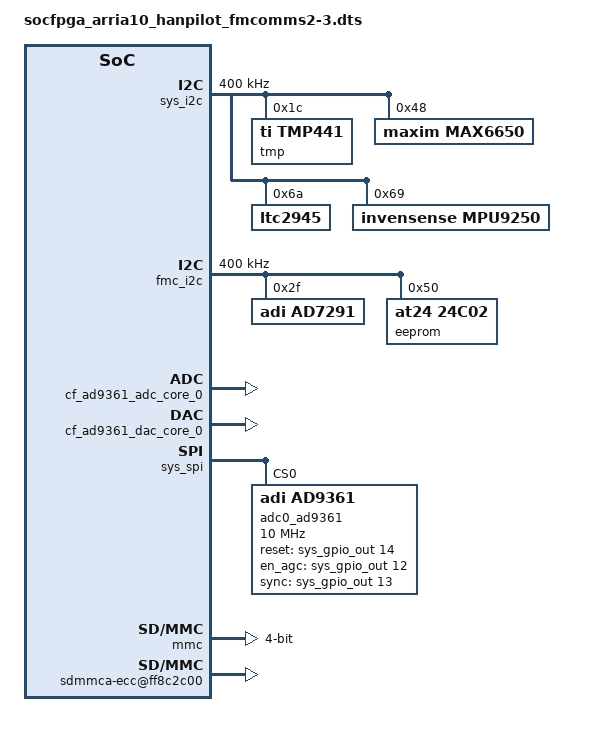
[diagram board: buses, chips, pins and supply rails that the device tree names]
// SPDX-License-Identifier: GPL-2.0
/*
 * fmcomms2-3 for the arria10
 *
 * hdl_project: <fmcomms2/hanpilot>
 * board_revision: <PR>
 *
 * Copyright 2020 Analog Devices Inc.
 * Modified by John Convertino AFRL/RIGB
 */
 
 /dts-v1/;
 #include "socfpga_arria10_hanpilot.dtsi"
#include <dt-bindings/interrupt-controller/irq.h>

&mmc {
	status = "okay";
	cap-sd-highspeed;
	broken-cd;
	bus-width = <4>;
};

&eccmgr {
	sdmmca-ecc@ff8c2c00 {
		compatible = "altr,socfpga-sdmmc-ecc";
		reg = <0xff8c2c00 0x400>;
		altr,ecc-parent = <&mmc>;
		interrupts = <15 IRQ_TYPE_LEVEL_HIGH>,
			     <47 IRQ_TYPE_LEVEL_HIGH>,
			     <16 IRQ_TYPE_LEVEL_HIGH>,
			     <48 IRQ_TYPE_LEVEL_HIGH>;
	};
};

/ {
	clocks {
		sys_clk: sys_clk {
			#clock-cells = <0>;
			compatible = "fixed-clock";
			clock-frequency = <100000000>;
			clock-output-names = "system_clock";
		};

		dma_clk: dma_clk {
			#clock-cells = <0x0>;
			compatible = "fixed-clock";
			clock-frequency = <250000000>;
			clock-output-names = "dma_clk";
		};
		
    ad9361_clkin: clock {
      #clock-cells = <0x0>;
      compatible = "fixed-clock";
      clock-frequency = <40000000>;
      clock-output-names = "ad9361_ext_refclk";
    };
	};

  soc {
		sys_hps_bridges: bridge@ff200000 {
			compatible = "simple-bus";
			reg = <0xff200000 0x00200000>;
			#address-cells = <1>;
			#size-cells = <1>;
			ranges = <0x00000000 0xff200000 0x00200000>;
			
      sys_i2c: i2c@80 {
        compatible = "altr,softip-i2c-v1.0";
        reg = <0x00000080 0x00000040>;
        interrupt-parent = <&intc>;
        interrupts = <0 34 IRQ_TYPE_LEVEL_HIGH>;
        clocks = <&sys_clk>;
        clock-frequency = <400000>;
        #address-cells = <1>;
        #size-cells = <0>;
        fifo-size = <64>;

        tmp@1C {
          compatible = "ti,tmp441";
          reg = <0x1C>;
        };
        
        max6650@48 {
          reg = <0x48>;
          compatible = "maxim,max6650";
          maxim,fan-microvolt = <12000000>;
          maxim,fan-prescale = <4>;
          maxim,fan-target-rpm = <6000>;
        };
        
        ltc2945@6A {
          compatible = "ltc2945";
          reg = <0x6A>;
        };
        

        mpu9250@69 {
          compatible = "invensense,mpu9250";
          reg = <0x69>;
          interrupt-parent = <&intc>;
          interrupts = <0 51 IRQ_TYPE_LEVEL_LOW>;
        };

      };
      
      fmc_i2c: i2c@C0 {
        compatible = "altr,softip-i2c-v1.0";
        reg = <0x000000C0 0x00000040>;
        interrupt-parent = <&intc>;
        interrupts = <0 35 IRQ_TYPE_LEVEL_HIGH>;
        clocks = <&sys_clk>;
        clock-frequency = <400000>;
        #address-cells = <1>;
        #size-cells = <0>;
        fifo-size = <128>;
        
        ad7291@2f {
          compatible = "adi,ad7291";
          reg = <0x2f>;
        };

        eeprom@50 {
          compatible = "at24,24c02";
          reg = <0x50>;
        };
      };

      cf_ad9361_adc_core_0: cf-ad9361-lpc@0x00020000 {
					compatible = "adi,axi-ad9361-6.00.a";
					reg = <0x00020000 0x00010000>;
					dmas = <&rx_dma 0>;
					dma-names = "rx";
					spibus-connected = <&adc0_ad9361>;
				};

      cf_ad9361_dac_core_0: cf-ad9361-dds-core-lpc@0x00020000 {
        compatible = "adi,axi-ad9361-dds-6.00.a";
        reg = <0x00020000 0x00001000>;
        dmas = <&tx_dma 0>;
        dma-names = "tx";
        clocks = <&adc0_ad9361 13>;
        clock-names = "sampl_clk";
      };

      tx_dma: dma@0x00044000 {
        compatible = "adi,axi-dmac-1.00.a";
        reg = <0x00044000 0x00004000>;
        interrupt-parent = <&intc>;
        interrupts = <0 22 IRQ_TYPE_LEVEL_HIGH>;
        #dma-cells = <1>;
        clocks = <&dma_clk>;
        clock-names = "axi_dmac0_clkin";

        adi,channels {
          #address-cells = <1>;
          #size-cells = <0>;

          dma-channel@0 {
            reg = <0>;
            adi,source-bus-width = <64>;
            adi,source-bus-type = <0>;
            adi,destination-bus-width = <64>;
            adi,destination-bus-type = <2>;
          };
        };
      };

      rx_dma: dma@0x00040000 {
        compatible = "adi,axi-dmac-1.00.a";
        reg = <0x00040000 0x00004000>;
        interrupt-parent = <&intc>;
        interrupts = <0 21 IRQ_TYPE_LEVEL_HIGH>;
        #dma-cells = <1>;
        clocks = <&dma_clk>;
        clock-names = "axi_dmac0_clkin";

        adi,channels {
          #address-cells = <1>;
          #size-cells = <0>;

          dma-channel@0 {
            reg = <0>;
            adi,source-bus-width = <64>;
            adi,source-bus-type = <2>;
            adi,destination-bus-width = <64>;
            adi,destination-bus-type = <0>;
          };
        };
      };

     sys_gpio_bd: sys-gpio-bd@10 {
				compatible = "altr,pio-16.0", "altr,pio-1.0";
				reg = <0x00000010 0x00000010>;
				altr,gpio-bank-width = <32>;
				#gpio-cells = <2>;
				gpio-controller;
			};
			
      sys_gpio_in: sys-gpio-in@0 {
				compatible = "altr,pio-16.0", "altr,pio-1.0";
				reg = <0x00000000 0x00000010>;
				altr,gpio-bank-width = <32>;
				#gpio-cells = <2>;
				gpio-controller;
			};

			sys_gpio_out: gpio@20 {
				compatible = "altr,pio-1.0";
				reg = <0x00000020 0x00000010>;
				altr,gpio-bank-width = <32>;
				resetvalue = <0>;
				#gpio-cells = <2>;
				gpio-controller;
			};

			sys_spi: spi@40 {
				compatible = "altr,spi-1.0";
				reg = <0x00000040 0x00000020>;
				interrupt-parent = <&intc>;
				interrupts = <0 26 IRQ_TYPE_LEVEL_HIGH>;
				#address-cells = <0x1>;
				#size-cells = <0x0>;
        adc0_ad9361: ad9361-phy@0 {
          #address-cells = <1>;
          #size-cells = <0>;
          #clock-cells = <1>;
          compatible = "adi,ad9361";

          /* SPI Setup */
          reg = <0>;
          //spi-cpha;
          spi-max-frequency = <10000000>;

          /* Clocks */
          clocks = <&ad9361_clkin 0>;
          clock-names = "ad9361_ext_refclk";
          clock-output-names = "rx_sampl_clk", "tx_sampl_clk";

          /* GPIO */
          reset-gpios  = <&sys_gpio_out 14 0>;
          en_agc-gpios = <&sys_gpio_out 12 0>;
          sync-gpios   = <&sys_gpio_out 13 0>;
          //enable-gpios = <&sys_gpio_out 1 0>;
          //txnrx-gpios  = <&sys_gpio_out 0 0>;

          //adi,debug-mode-enable;
          /* Digital Interface Control */

          /* adi,digital-interface-tune-skip-mode:
          * 0 = TUNE RX&TX
          * 1 = SKIP TX
          * 2 = SKIP ALL
          */
          adi,digital-interface-tune-skip-mode = <0>;

          adi,pp-tx-swap-enable;
          adi,pp-rx-swap-enable;
          adi,rx-frame-pulse-mode-enable;
          adi,lvds-mode-enable;
          adi,lvds-bias-mV = <150>;
          adi,lvds-rx-onchip-termination-enable;
          adi,rx-data-delay = <4>;
          adi,tx-fb-clock-delay = <7>;

          //adi,fdd-rx-rate-2tx-enable;

          adi,dcxo-coarse-and-fine-tune = <8 5920>;
          //adi,xo-disable-use-ext-refclk-enable;

          /* Mode Setup */

          adi,2rx-2tx-mode-enable;
          //adi,split-gain-table-mode-enable;

          /* ENSM Mode */
          adi,frequency-division-duplex-mode-enable;
          //adi,ensm-enable-pin-pulse-mode-enable;
          //adi,ensm-enable-txnrx-control-enable;


          /* adi,rx-rf-port-input-select:
            * 0 = (RX1A_N &  RX1A_P) and (RX2A_N & RX2A_P) enabled; balanced
            * 1 = (RX1B_N &  RX1B_P) and (RX2B_N & RX2B_P) enabled; balanced
            * 2 = (RX1C_N &  RX1C_P) and (RX2C_N & RX2C_P) enabled; balanced
            *
            * 3 = RX1A_N and RX2A_N enabled; unbalanced
            * 4 = RX1A_P and RX2A_P enabled; unbalanced
            * 5 = RX1B_N and RX2B_N enabled; unbalanced
            * 6 = RX1B_P and RX2B_P enabled; unbalanced
            * 7 = RX1C_N and RX2C_N enabled; unbalanced
            * 8 = RX1C_P and RX2C_P enabled; unbalanced
            */

          adi,rx-rf-port-input-select = <0>; /* (RX1A_N &  RX1A_P) and (RX2A_N & RX2A_P) enabled; balanced */

          /* adi,tx-rf-port-input-select:
            * 0	TX1A, TX2A
            * 1	TX1B, TX2B
            */

          adi,tx-rf-port-input-select = <0>; /* TX1A, TX2A */
          //adi,update-tx-gain-in-alert-enable;
          adi,tx-attenuation-mdB = <10000>;

          adi,rf-rx-bandwidth-hz = <18000000>;
          adi,rf-tx-bandwidth-hz = <18000000>;
          adi,rx-synthesizer-frequency-hz = /bits/ 64 <2400000000>;
          adi,tx-synthesizer-frequency-hz = /bits/ 64 <2450000000>;

          /*				BBPLL     ADC        R2CLK     R1CLK    CLKRF    RSAMPL  */
          adi,rx-path-clock-frequencies = <983040000 245760000 122880000 61440000 30720000 30720000>;
          /*				BBPLL     DAC        T2CLK     T1CLK    CLKTF    TSAMPL  */
          adi,tx-path-clock-frequencies = <983040000 122880000 122880000 61440000 30720000 30720000>;

          /* Gain Control */

          /* adi,gc-rx[1|2]-mode:
            * 0 = RF_GAIN_MGC
            * 1 = RF_GAIN_FASTATTACK_AGC
            * 2 = RF_GAIN_SLOWATTACK_AGC
            * 3 = RF_GAIN_HYBRID_AGC
            */

          adi,gc-rx1-mode = <2>;
          adi,gc-rx2-mode = <2>;
          adi,gc-adc-ovr-sample-size = <4>; /* sum 4 samples */
          adi,gc-adc-small-overload-thresh = <47>; /* sum of squares */
          adi,gc-adc-large-overload-thresh = <58>; /* sum of squares */
          adi,gc-lmt-overload-high-thresh = <800>; /* mV */
          adi,gc-lmt-overload-low-thresh = <704>; /* mV */
          adi,gc-dec-pow-measurement-duration = <8192>; /* 0..524288 Samples */
          adi,gc-low-power-thresh = <24>; /* 0..-64 dBFS vals are set pos */
          //adi,gc-dig-gain-enable;
          //adi,gc-max-dig-gain = <15>;

          /* Manual Gain Control Setup */

          //adi,mgc-rx1-ctrl-inp-enable; /* uncomment to use ctrl inputs */
          //adi,mgc-rx2-ctrl-inp-enable; /* uncomment to use ctrl inputs */
          adi,mgc-inc-gain-step = <2>;
          adi,mgc-dec-gain-step = <2>;

          /* adi,mgc-split-table-ctrl-inp-gain-mode:
            * (relevant if adi,split-gain-table-mode-enable is set)
            * 0 = AGC determine this
            * 1 = only in LPF
            * 2 = only in LMT
            */

          adi,mgc-split-table-ctrl-inp-gain-mode = <0>;

          /* Automatic Gain Control Setup */

          adi,agc-attack-delay-extra-margin-us= <1>; /* us */
          adi,agc-outer-thresh-high = <5>; /* -dBFS */
          adi,agc-outer-thresh-high-dec-steps = <2>; /* 0..15 */
          adi,agc-inner-thresh-high = <10>; /* -dBFS */
          adi,agc-inner-thresh-high-dec-steps = <1>; /* 0..7 */
          adi,agc-inner-thresh-low = <12>; /* -dBFS */
          adi,agc-inner-thresh-low-inc-steps = <1>; /* 0..7 */
          adi,agc-outer-thresh-low = <18>; /* -dBFS */
          adi,agc-outer-thresh-low-inc-steps = <2>; /* 0..15 */

          adi,agc-adc-small-overload-exceed-counter = <10>; /* 0..15 */
          adi,agc-adc-large-overload-exceed-counter = <10>; /* 0..15 */
          adi,agc-adc-large-overload-inc-steps = <2>; /* 0..15 */
          //adi,agc-adc-lmt-small-overload-prevent-gain-inc-enable;
          adi,agc-lmt-overload-large-exceed-counter = <10>; /* 0..15 */
          adi,agc-lmt-overload-small-exceed-counter = <10>; /* 0..15 */
          adi,agc-lmt-overload-large-inc-steps = <2>; /* 0..7 */
          //adi,agc-dig-saturation-exceed-counter = <3>; /* 0..15 */
          //adi,agc-dig-gain-step-size = <4>; /* 1..8 */

          //adi,agc-sync-for-gain-counter-enable;
          adi,agc-gain-update-interval-us = <1000>;  /* 1ms */
          //adi,agc-immed-gain-change-if-large-adc-overload-enable;
          //adi,agc-immed-gain-change-if-large-lmt-overload-enable;

          /* Fast AGC */

          adi,fagc-dec-pow-measurement-duration = <64>; /* 64 Samples */
          //adi,fagc-allow-agc-gain-increase-enable;
          adi,fagc-lp-thresh-increment-steps = <1>;
          adi,fagc-lp-thresh-increment-time = <5>;

          adi,fagc-energy-lost-stronger-sig-gain-lock-exit-cnt = <8>;
          adi,fagc-final-overrange-count = <3>;
          //adi,fagc-gain-increase-after-gain-lock-enable;
          adi,fagc-gain-index-type-after-exit-rx-mode = <0>;
          adi,fagc-lmt-final-settling-steps = <1>;
          adi,fagc-lock-level = <10>;
          adi,fagc-lock-level-gain-increase-upper-limit = <5>;
          adi,fagc-lock-level-lmt-gain-increase-enable;

          adi,fagc-lpf-final-settling-steps = <1>;
          adi,fagc-optimized-gain-offset = <5>;
          adi,fagc-power-measurement-duration-in-state5 = <64>;
          adi,fagc-rst-gla-engergy-lost-goto-optim-gain-enable;
          adi,fagc-rst-gla-engergy-lost-sig-thresh-below-ll = <10>;
          adi,fagc-rst-gla-engergy-lost-sig-thresh-exceeded-enable;
          adi,fagc-rst-gla-if-en-agc-pulled-high-mode = <0>;
          adi,fagc-rst-gla-large-adc-overload-enable;
          adi,fagc-rst-gla-large-lmt-overload-enable;
          adi,fagc-rst-gla-stronger-sig-thresh-above-ll = <10>;
          adi,fagc-rst-gla-stronger-sig-thresh-exceeded-enable;
          adi,fagc-state-wait-time-ns = <260>;
          adi,fagc-use-last-lock-level-for-set-gain-enable;

          /* RSSI */

          /* adi,rssi-restart-mode:
            * 0 = AGC_IN_FAST_ATTACK_MODE_LOCKS_THE_GAIN,
            * 1 = EN_AGC_PIN_IS_PULLED_HIGH,
            * 2 = ENTERS_RX_MODE,
            * 3 = GAIN_CHANGE_OCCURS,
            * 4 = SPI_WRITE_TO_REGISTER,
            * 5 = GAIN_CHANGE_OCCURS_OR_EN_AGC_PIN_PULLED_HIGH,
            */
          adi,rssi-restart-mode = <3>;
          //adi,rssi-unit-is-rx-samples-enable;
          adi,rssi-delay = <1>; /* 1us */
          adi,rssi-wait = <1>; /* 1us */
          adi,rssi-duration = <1000>; /* 1ms */

          /* Control Outputs */
          adi,ctrl-outs-index = <0>;
          adi,ctrl-outs-enable-mask = <0xFF>;

          /* AuxADC Temp Sense Control */

          adi,temp-sense-measurement-interval-ms = <1000>;
          adi,temp-sense-offset-signed = <0xCE>;
          adi,temp-sense-periodic-measurement-enable;

          /* AuxDAC Control */

          adi,aux-dac-manual-mode-enable;

          adi,aux-dac1-default-value-mV = <0>;
          //adi,aux-dac1-active-in-rx-enable;
          //adi,aux-dac1-active-in-tx-enable;
          //adi,aux-dac1-active-in-alert-enable;
          adi,aux-dac1-rx-delay-us = <0>;
          adi,aux-dac1-tx-delay-us = <0>;

          adi,aux-dac2-default-value-mV = <0>;
          //adi,aux-dac2-active-in-rx-enable;
          //adi,aux-dac2-active-in-tx-enable;
          //adi,aux-dac2-active-in-alert-enable;
          adi,aux-dac2-rx-delay-us = <0>;
          adi,aux-dac2-tx-delay-us = <0>;
          };
        };
      };
    };
};

